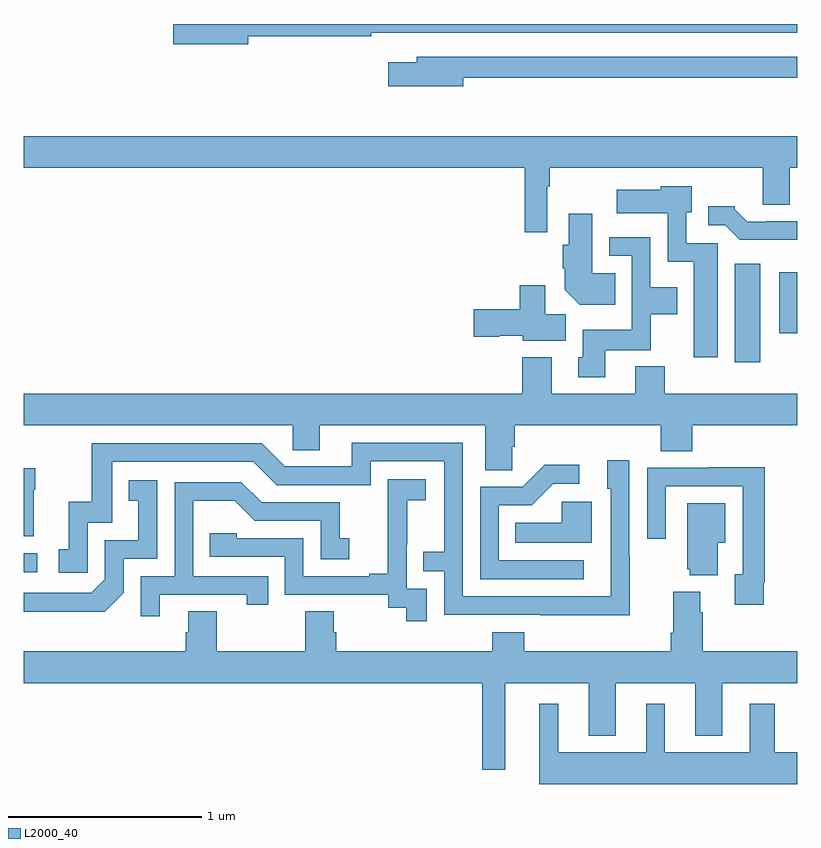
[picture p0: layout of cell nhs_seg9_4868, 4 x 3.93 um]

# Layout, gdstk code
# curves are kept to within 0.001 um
import gdstk
lib = gdstk.Library(unit=1e-6, precision=1e-09)
def R(c, l, rs):  # rectangles x0, y0, x1, y1
    for r in rs: c.add(gdstk.rectangle(r[:2], r[2:], *l))
def P(c, l, *ps):  # polygons
    for p in ps: c.add(gdstk.Polygon(p, *l))
L2000_40 = (2000, 40)

nhs_seg9_4868 = lib.new_cell('nhs_seg9_4868')
R(nhs_seg9_4868, L2000_40, [(393,1191.666,393.07,1191.762), (396.677,1192.752,396.808,1193.26), (396.908,1192.901,397,1193.215)])
P(nhs_seg9_4868, L2000_40, [(394.162,1194.436),(394.796,1194.436),(394.796,1194.456),(397,1194.456),(397,1194.5),(393.774,1194.5),(393.774,1194.394),(394.162,1194.394)],
  [(395.272,1194.222),(397,1194.222),(397,1194.33),(395.033,1194.33),(395.033,1194.301),(394.884,1194.301),(394.884,1194.179),(395.272,1194.179)],
  [(395.706,1193.66),(395.719,1193.66),(395.719,1193.756),(396.821,1193.756),(396.821,1193.566),(396.961,1193.566),(396.961,1193.756),(397,1193.756),(397,1193.92),(393,1193.92),(393,1193.756),(395.59,1193.756),(395.59,1193.424),(395.706,1193.424)],
  [(396.589,1193.367),(396.426,1193.367),(396.426,1193.526),(396.454,1193.526),(396.454,1193.662),(396.294,1193.662),(396.294,1193.644),(396.066,1193.644),(396.066,1193.522),(396.33,1193.522),(396.33,1193.27),(396.464,1193.27),(396.464,1192.776),(396.589,1192.776)],
  [(397,1193.481),(396.841,1193.481),(396.841,1193.478),(396.742,1193.478),(396.678,1193.542),(396.678,1193.557),(396.539,1193.557),(396.539,1193.46),(396.627,1193.46),(396.703,1193.384),(397,1193.384)],
  [(396.059,1193.212),(395.941,1193.212),(395.941,1193.518),(395.819,1193.518),(395.819,1193.358),(395.786,1193.358),(395.786,1193.236),(395.798,1193.236),(395.798,1193.126),(395.876,1193.048),(396.059,1193.048)],
  [(396.007,1192.814),(396.243,1192.814),(396.243,1193),(396.379,1193),(396.379,1193.14),(396.24,1193.14),(396.24,1193.397),(396.027,1193.397),(396.027,1193.301),(396.144,1193.301),(396.144,1192.918),(395.891,1192.918),(395.891,1192.776),(395.867,1192.776),(395.867,1192.674),(396.007,1192.674)],
  [(395.803,1193),(395.698,1193),(395.698,1193.149),(395.564,1193.149),(395.564,1193.024),(395.328,1193.024),(395.328,1192.882),(395.46,1192.882),(395.46,1192.889),(395.58,1192.889),(395.58,1192.862),(395.803,1192.862)],
  [(395.526,1192.315),(395.54,1192.315),(395.54,1192.424),(396.293,1192.424),(396.293,1192.291),(396.458,1192.291),(396.458,1192.424),(397,1192.424),(397,1192.588),(396.314,1192.588),(396.314,1192.729),(396.161,1192.729),(396.161,1192.588),(395.731,1192.588),(395.731,1192.777),(395.579,1192.777),(395.579,1192.588),(393,1192.588),(393,1192.424),(394.392,1192.424),(394.392,1192.297),(394.531,1192.297),(394.531,1192.424),(395.387,1192.424),(395.387,1192.192),(395.526,1192.192)],
  [(396.135,1191.749),(396.132,1191.749),(396.132,1192.243),(396.017,1192.243),(396.017,1192.098),(396.036,1192.098),(396.035,1191.54),(395.271,1191.54),(395.271,1192.335),(394.697,1192.335),(394.697,1192.212),(394.35,1192.212),(394.23,1192.332),(393.351,1192.332),(393.351,1192.03),(393.233,1192.03),(393.233,1191.783),(393.18,1191.783),(393.18,1191.663),(393.33,1191.663),(393.33,1191.921),(393.459,1191.921),(393.459,1192.236),(394.188,1192.236),(394.308,1192.116),(394.794,1192.116),(394.794,1192.239),(395.175,1192.239),(395.175,1191.77),(395.065,1191.77),(395.065,1191.669),(395.175,1191.669),(395.175,1191.444),(396.135,1191.443)],
  [(395.896,1191.726),(395.457,1191.726),(395.457,1192.011),(395.626,1192.011),(395.737,1192.122),(395.872,1192.122),(395.872,1192.22),(395.693,1192.22),(395.58,1192.107),(395.361,1192.107),(395.361,1191.63),(395.896,1191.63)],
  [(396.826,1191.61),(396.833,1191.61),(396.833,1192.208),(396.541,1192.208),(396.541,1192.206),(396.225,1192.206),(396.225,1191.837),(396.321,1191.837),(396.321,1192.11),(396.717,1192.11),(396.717,1191.654),(396.677,1191.654),(396.677,1191.498),(396.826,1191.498)],
  [(393.052,1192.091),(393.06,1192.091),(393.06,1192.204),(393,1192.204),(393,1191.851),(393.052,1191.851)],
  [(395.085,1191.579),(394.98,1191.579),(394.98,1191.809),(394.982,1191.809),(394.982,1192.037),(395.08,1192.037),(395.08,1192.147),(394.882,1192.147),(394.882,1191.941),(394.883,1191.941),(394.883,1191.658),(394.787,1191.658),(394.787,1191.645),(394.446,1191.645),(394.446,1191.84),(394.101,1191.84),(394.101,1191.867),(393.961,1191.867),(393.961,1191.744),(394.35,1191.744),(394.35,1191.549),(394.884,1191.549),(394.884,1191.481),(394.977,1191.481),(394.977,1191.411),(395.085,1191.411)],
  [(393.516,1191.558),(393.516,1191.735),(393.69,1191.735),(393.69,1192.141),(393.544,1192.141),(393.544,1192.035),(393.593,1192.035),(393.593,1191.831),(393.42,1191.831),(393.42,1191.63),(393.348,1191.558),(393,1191.558),(393,1191.462),(393.01,1191.461),(393.418,1191.461)],
  [(393.703,1191.549),(394.154,1191.549),(394.154,1191.498),(394.265,1191.498),(394.265,1191.645),(393.876,1191.645),(393.876,1192.034),(394.09,1192.034),(394.194,1191.93),(394.536,1191.93),(394.536,1191.732),(394.684,1191.732),(394.684,1191.841),(394.635,1191.841),(394.635,1192.026),(394.231,1192.026),(394.126,1192.131),(393.78,1192.131),(393.78,1191.645),(393.606,1191.645),(393.606,1191.438),(393.703,1191.438)],
  [(395.938,1192.03),(395.781,1192.03),(395.781,1191.922),(395.542,1191.922),(395.542,1191.818),(395.938,1191.818)],
  [(396.589,1191.818),(396.628,1191.818),(396.628,1192.021),(396.431,1192.021),(396.431,1191.681),(396.443,1191.681),(396.443,1191.65),(396.589,1191.65)],
  [(396.512,1191.458),(396.499,1191.458),(396.499,1191.565),(396.359,1191.565),(396.359,1191.352),(396.347,1191.352),(396.347,1191.256),(395.588,1191.256),(395.588,1191.355),(395.423,1191.355),(395.423,1191.256),(394.616,1191.256),(394.616,1191.354),(394.603,1191.354),(394.603,1191.464),(394.456,1191.464),(394.456,1191.256),(393.999,1191.256),(393.999,1191.464),(393.851,1191.464),(393.851,1191.354),(393.839,1191.354),(393.839,1191.256),(393,1191.256),(393,1191.092),(395.37,1191.092),(395.37,1190.643),(395.491,1190.643),(395.491,1191.092),(395.921,1191.092),(395.921,1190.819),(396.061,1190.819),(396.061,1191.092),(396.473,1191.092),(396.473,1190.819),(396.613,1190.819),(396.613,1191.092),(397,1191.092),(397,1191.256),(396.512,1191.256)],
  [(397,1190.734),(396.883,1190.734),(396.883,1190.986),(396.755,1190.986),(396.755,1190.734),(396.316,1190.734),(396.316,1190.986),(396.218,1190.986),(396.218,1190.734),(395.764,1190.734),(395.764,1190.986),(395.666,1190.986),(395.666,1190.57),(397,1190.57)])

lib.write_gds('nhs_seg9_4868.gds')
